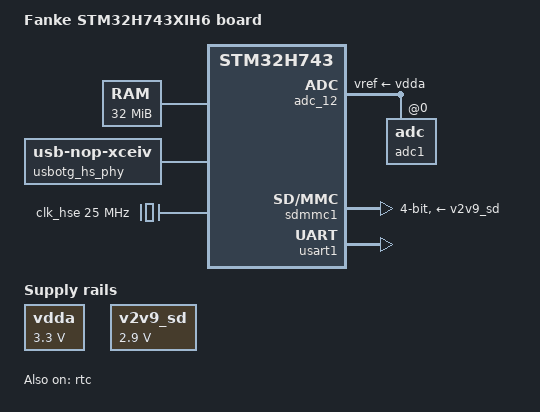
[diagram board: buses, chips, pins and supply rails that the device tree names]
/dts-v1/;
#include "stm32h743.dtsi"
#include "stm32h7-pinctrl.dtsi"
#include "stm32h743xih6-fanke-expinctrl.dtsi"

/ {
	model = "Fanke STM32H743XIH6 board";
	compatible = "st,stm32h743xih6-fanke", "st,stm32h743";

	chosen {
		bootargs = "root=/dev/ram";
		stdout-path = "serial0:115200n8";
	};

	memory@c0000000 {
		device_type = "memory";
		reg = <0xc0000000 0x2000000>;
	};

	aliases {
		serial0 = &usart1;
	};

	vdda: regulator-vdda {
		compatible = "regulator-fixed";
		regulator-name = "vdda";
		regulator-min-microvolt = <3300000>;
		regulator-max-microvolt = <3300000>;
		regulator-always-on;
	};

	v2v9_sd: regulator-v2v9_sd {
		compatible = "regulator-fixed";
		regulator-name = "v2v9_sd";
		regulator-min-microvolt = <2900000>;
		regulator-max-microvolt = <2900000>;
		regulator-always-on;
	};

	usbotg_hs_phy: usb-phy {
		#phy-cells = <0>;
		compatible = "usb-nop-xceiv";
		clocks = <&rcc USB1ULPI_CK>;
		clock-names = "main_clk";
	};
};

&adc_12 {
	vdda-supply = <&vdda>;
	vref-supply = <&vdda>;
	status = "okay";
	adc1: adc@0 {
		/* potentiometer */
		st,adc-channels = <0>;
		status = "okay";
	};
};

&clk_hse {
	clock-frequency = <25000000>;
};

&i2c1 {
	pinctrl-0 = <&i2c1_pins_a>;
	pinctrl-names = "default";
	i2c-scl-rising-time-ns = <185>;
	i2c-scl-falling-time-ns = <20>;
	status = "disabled";
};

&rtc {
	status = "okay";
};

&mac {
	status = "disabled";
	pinctrl-0 = <&ethernet_rmii>;
	pinctrl-names = "default";
	phy-mode = "rmii";
	phy-handle = <&phy0>;

	mdio0 {
		#address-cells = <1>;
		#size-cells = <0>;
		compatible = "snps,dwmac-mdio";
		phy0: ethernet-phy@0 {
			reg = <0>;
		};
	};
};

&sdmmc1 {
	pinctrl-names = "default", "opendrain", "sleep";
	pinctrl-0 = <&sdmmc1_b4_pins_a>;
	pinctrl-1 = <&sdmmc1_b4_od_pins_a>;
	pinctrl-2 = <&sdmmc1_b4_sleep_pins_a>;
	broken-cd;
	st,neg-edge;
	bus-width = <4>;
	vmmc-supply = <&v2v9_sd>;
	status = "okay";
};

&usart1 {
	pinctrl-0 = <&fanke_usart1_pins>;
	pinctrl-names = "default";
	status = "okay";
};

&usbotg_hs {
        pinctrl-0 = <&usbotg_hs_pins_a>;
        pinctrl-names = "default";
        phys = <&usbotg_hs_phy>;
        phy-names = "usb2-phy";
        dr_mode = "otg";
        status = "disabled";
};

